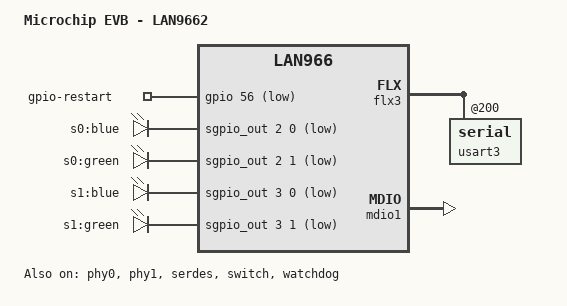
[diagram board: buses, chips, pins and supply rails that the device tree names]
// SPDX-License-Identifier: (GPL-2.0+ OR MIT)
/*
 * lan966x_pcb8291.dts - Device Tree file for PCB8291
 */
/dts-v1/;
#include "lan966x.dtsi"
#include "dt-bindings/phy/phy-lan966x-serdes.h"

/ {
	model = "Microchip EVB - LAN9662";
	compatible = "microchip,lan9662-pcb8291", "microchip,lan9662", "microchip,lan966";

	chosen {
		stdout-path = "serial0:115200n8";
	};

	aliases {
		serial0 = &usart3;
	};

	gpio-restart {
		compatible = "gpio-restart";
		gpios = <&gpio 56 GPIO_ACTIVE_LOW>;
		priority = <200>;
	};

	leds {
		compatible = "gpio-leds";

		led-s0-blue {
			label = "s0:blue";
			gpios = <&sgpio_out 2 0 GPIO_ACTIVE_LOW>;
			default-state = "off";
		};

		led-s0-green {
			label = "s0:green";
			gpios = <&sgpio_out 2 1 GPIO_ACTIVE_LOW>;
			default-state = "off";
		};

		led-s1-blue {
			label = "s1:blue";
			gpios = <&sgpio_out 3 0 GPIO_ACTIVE_LOW>;
			default-state = "off";
		};

		led-s1-green {
			label = "s1:green";
			gpios = <&sgpio_out 3 1 GPIO_ACTIVE_LOW>;
			default-state = "off";
		};
	};
};

&aes {
	status = "disabled"; /* Reserved by secure OS */
};

&gpio {
	fc3_b_pins: fc3-b-pins {
		/* RX, TX */
		pins = "GPIO_52", "GPIO_53";
		function = "fc3_b";
	};

	can0_b_pins:  can0-b-pins {
		/* RX, TX */
		pins = "GPIO_35", "GPIO_36";
		function = "can0_b";
	};
};

&can0 {
	pinctrl-0 = <&can0_b_pins>;
	pinctrl-names = "default";
	status = "disabled"; /* Conflict with switch */
};

&flx3 {
	atmel,flexcom-mode = <ATMEL_FLEXCOM_MODE_USART>;
	status = "okay";

	usart3: serial@200 {
		pinctrl-0 = <&fc3_b_pins>;
		pinctrl-names = "default";
		status = "okay";
	};
};

&mdio1 {
	status = "okay";
};

&phy0 {
	status = "okay";
};

&phy1 {
	status = "okay";
};

&port0 {
	phy-handle = <&phy0>;
	phy-mode = "gmii";
	phys = <&serdes 0 CU(0)>;
	status = "okay";
};

&port1 {
	phy-handle = <&phy1>;
	phy-mode = "gmii";
	phys = <&serdes 1 CU(1)>;
	status = "okay";
};

&serdes {
	status = "okay";
};

&switch {
	status = "okay";
};

&watchdog {
	status = "okay";
};
